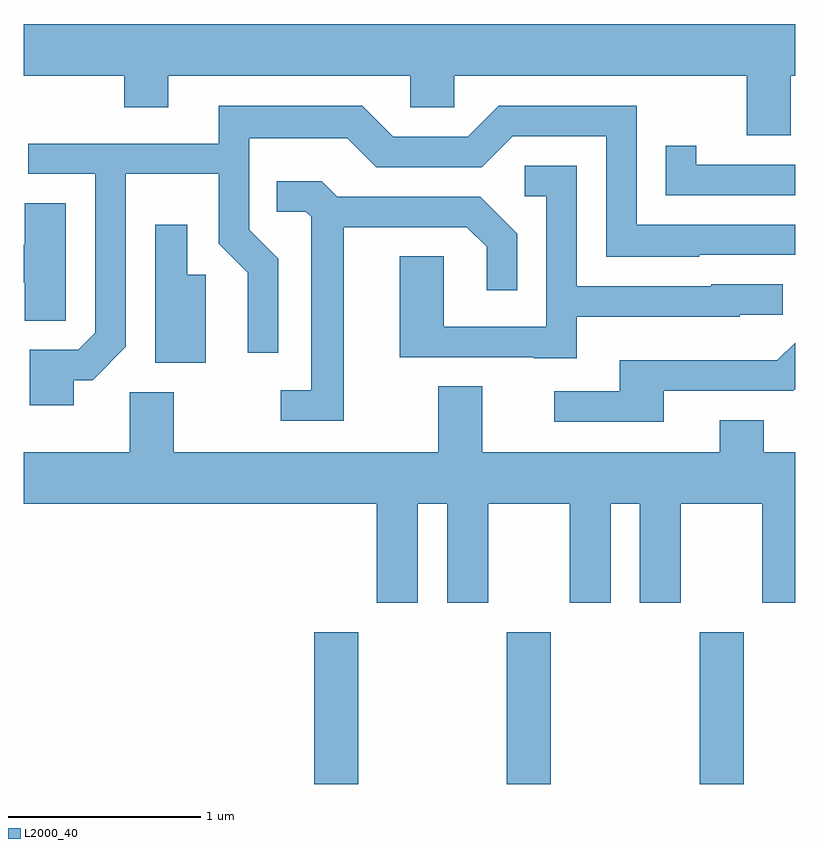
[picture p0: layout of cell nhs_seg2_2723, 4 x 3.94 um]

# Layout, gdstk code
import gdstk
lib = gdstk.Library(unit=1e-6, precision=1e-09)
def R(c, l, rs):  # rectangles x0, y0, x1, y1
    for r in rs: c.add(gdstk.rectangle(r[:2], r[2:], *l))
def A(c, l, x, y, w, h, nx, ny, dx, dy):  # array of equal rectangles
    R(c, l, [(x+i*dx, y+j*dy, x+i*dx+w, y+j*dy+h) for i in range(nx) for j in range(ny)])
def P(c, l, *ps):  # polygons
    for p in ps: c.add(gdstk.Polygon(p, *l))
L2000_40 = (2000, 40)

nhs_seg2_2723 = lib.new_cell('nhs_seg2_2723')
A(nhs_seg2_2723, L2000_40, 267.116, 995.802, 0.228, 0.787, 3, 1, 1, 0)
P(nhs_seg2_2723, L2000_40, [(269.589,999.476),(269.611,999.476),(269.611,999.744),(265.611,999.744),(265.611,999.476),(266.131,999.476),(266.131,999.311),(266.359,999.311),(266.359,999.476),(267.616,999.476),(267.616,999.311),(267.844,999.311),(267.844,999.476),(269.361,999.476),(269.361,999.166),(269.589,999.166)],
  [(265.869,997.896),(265.967,997.896),(266.139,998.069),(266.139,998.966),(266.621,998.966),(266.621,998.604),(266.771,998.454),(266.771,998.038),(266.929,998.038),(266.929,998.527),(266.779,998.677),(266.779,999.151),(267.289,999.151),(267.439,999.001),(267.987,999.001),(268.147,999.161),(268.631,999.161),(268.631,998.536),(269.115,998.536),(269.115,998.546),(269.611,998.546),(269.611,998.704),(268.789,998.704),(268.789,999.319),(268.074,999.319),(267.914,999.159),(267.527,999.159),(267.367,999.319),(266.621,999.319),(266.621,999.124),(265.633,999.124),(265.633,998.966),(265.981,998.966),(265.981,998.142),(265.894,998.054),(265.641,998.054),(265.641,997.766),(265.869,997.766)],
  [(269.611,999.014),(269.099,999.014),(269.099,999.113),(268.941,999.113),(268.941,998.856),(269.611,998.856)],
  [(268.479,998.226),(269.325,998.226),(269.325,998.236),(269.548,998.236),(269.548,998.394),(269.175,998.394),(269.175,998.384),(268.479,998.384),(268.479,999.009),(268.208,999.009),(268.208,998.851),(268.321,998.851),(268.321,998.174),(267.789,998.174),(267.789,998.539),(267.561,998.539),(267.561,998.016),(268.255,998.016),(268.255,998.011),(268.479,998.011)],
  [(267.269,998.691),(267.909,998.691),(268.011,998.589),(268.011,998.363),(268.169,998.363),(268.169,998.657),(267.977,998.849),(267.237,998.849),(267.157,998.929),(266.923,998.929),(266.923,998.771),(267.074,998.771),(267.101,998.744),(267.101,997.844),(266.943,997.844),(266.943,997.686),(267.269,997.686)],
  [(265.829,998.814),(265.616,998.814),(265.616,998.599),(265.611,998.599),(265.611,998.401),(265.616,998.401),(265.616,998.206),(265.829,998.206)],
  [(266.554,998.444),(266.459,998.444),(266.459,998.703),(266.291,998.703),(266.291,997.986),(266.554,997.986)],
  [(268.929,997.841),(269.602,997.841),(269.611,997.85),(269.611,998.091),(269.519,997.999),(268.701,997.999),(268.701,997.839),(268.363,997.839),(268.363,997.681),(268.929,997.681)],
  [(267.654,997.256),(267.806,997.256),(267.806,996.741),(268.019,996.741),(268.019,997.256),(268.441,997.256),(268.441,996.741),(268.654,996.741),(268.654,997.256),(268.806,997.256),(268.806,996.741),(269.019,996.741),(269.019,997.256),(269.441,997.256),(269.441,996.741),(269.611,996.741),(269.611,997.524),(269.449,997.524),(269.449,997.689),(269.221,997.689),(269.221,997.524),(267.989,997.524),(267.989,997.864),(267.761,997.864),(267.761,997.524),(266.389,997.524),(266.389,997.834),(266.161,997.834),(266.161,997.524),(265.611,997.524),(265.611,997.256),(267.441,997.256),(267.441,996.741),(267.654,996.741)])

lib.write_gds('nhs_seg2_2723.gds')
